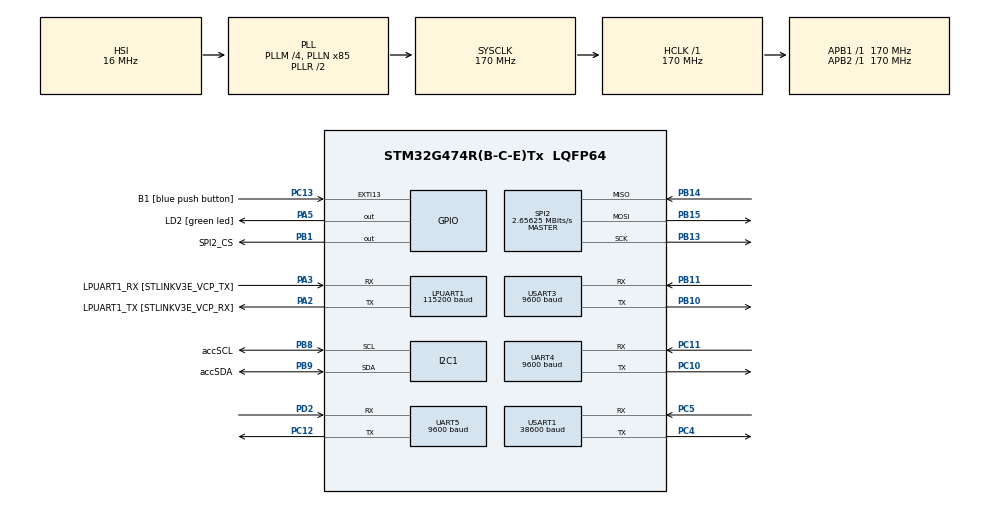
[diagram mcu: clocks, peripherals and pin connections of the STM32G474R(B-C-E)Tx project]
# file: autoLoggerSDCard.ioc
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FATFS._USE_LABEL=1
FATFS._USE_LFN=3
I2C1.Timing=0x40B285C2
LPUART1.BaudRate=115200
Mcu.Family=STM32G4
Mcu.Name=STM32G474R(B-C-E)Tx
Mcu.Package=LQFP64
NVIC.EXTI15_10_IRQn=true\:0\:0\:false\:false\:true\:true\:true\:true
NVIC.I2C1_EV_IRQn=true\:0\:0\:false\:false\:true\:true\:true\:true
NVIC.LPUART1_IRQn=true\:0\:0\:false\:false\:true\:true\:true\:true
NVIC.PriorityGroup=NVIC_PRIORITYGROUP_4
NVIC.TIM6_DAC_IRQn=true\:0\:0\:false\:false\:true\:true\:true\:true
NVIC.UART4_IRQn=true\:0\:0\:false\:false\:true\:true\:true\:true
NVIC.UART5_IRQn=true\:0\:0\:false\:false\:true\:true\:true\:true
NVIC.USART1_IRQn=true\:0\:0\:false\:false\:true\:true\:true\:true
NVIC.USART3_IRQn=true\:0\:0\:false\:false\:true\:true\:true\:true
PA13.GPIO_Label=T_SWDIO
PA13.Mode=Serial_Wire
PA13.Signal=SYS_JTMS-SWDIO
PA14.GPIO_Label=T_SWCLK
PA14.Mode=Serial_Wire
PA14.Signal=SYS_JTCK-SWCLK
PA2.GPIO_Label=LPUART1_TX [STLINKV3E_VCP_RX]
PA2.Mode=Asynchronous
PA2.Signal=LPUART1_TX
PA3.GPIO_Label=LPUART1_RX [STLINKV3E_VCP_TX]
PA3.Mode=Asynchronous
PA3.Signal=LPUART1_RX
PA5.GPIO_Label=LD2 [green led]
PA5.Signal=GPIO_Output
PB1.GPIO_Label=SPI2_CS
PB1.GPIO_ModeDefaultOutputPP=GPIO_MODE_OUTPUT_PP
PB1.GPIO_PuPd=GPIO_PULLUP
PB1.GPIO_Speed=GPIO_SPEED_FREQ_HIGH
PB1.PinState=GPIO_PIN_SET
PB1.Signal=GPIO_Output
PB10.Mode=Asynchronous
PB10.Signal=USART3_TX
PB11.Mode=Asynchronous
PB11.Signal=USART3_RX
PB13.Mode=Full_Duplex_Master
PB13.Signal=SPI2_SCK
PB14.Mode=Full_Duplex_Master
PB14.Signal=SPI2_MISO
PB15.Mode=Full_Duplex_Master
PB15.Signal=SPI2_MOSI
PB3.GPIO_Label=T_SWO
PB3.Signal=SYS_JTDO-SWO
PB8-BOOT0.GPIO_Label=accSCL
PB8-BOOT0.GPIO_Pu=GPIO_PULLUP
PB8-BOOT0.Mode=I2C
PB8-BOOT0.Signal=I2C1_SCL
PB9.GPIO_Label=accSDA
PB9.GPIO_Pu=GPIO_PULLUP
PB9.Mode=I2C
PB9.Signal=I2C1_SDA
PC10.Mode=Asynchronous
PC10.Signal=UART4_TX
PC11.Mode=Asynchronous
PC11.Signal=UART4_RX
PC12.Mode=Asynchronous
PC12.Signal=UART5_TX
PC13.GPIO_Label=B1 [blue push button]
PC13.Signal=GPXTI13
PC14-OSC32_IN.GPIO_Label=RCC_OSC32_IN
PC14-OSC32_IN.Signal=RCC_OSC32_IN
PC15-OSC32_OUT.GPIO_Label=RCC_OSC32_OUT
PC15-OSC32_OUT.Signal=RCC_OSC32_OUT
PC4.Mode=Asynchronous
PC4.Signal=USART1_TX
PC5.Mode=Asynchronous
PC5.Signal=USART1_RX
PD2.Mode=Asynchronous
PD2.Signal=UART5_RX
PF0-OSC_IN.GPIO_Label=RCC_OSC_IN
PF0-OSC_IN.Mode=HSE-External-Oscillator
PF0-OSC_IN.Signal=RCC_OSC_IN
PF1-OSC_OUT.GPIO_Label=RCC_OSC_OUT
PF1-OSC_OUT.Mode=HSE-External-Oscillator
PF1-OSC_OUT.Signal=RCC_OSC_OUT
ProjectManager.HeapSize=0x200
ProjectManager.StackSize=0x400
ProjectManager.TargetToolchain=STM32CubeIDE
RCC.ADC12Freq_Value=170000000
RCC.ADC345Freq_Value=170000000
RCC.AHBFreq_Value=170000000
RCC.APB1Freq_Value=170000000
RCC.APB1TimFreq_Value=170000000
RCC.APB2Freq_Value=170000000
RCC.APB2TimFreq_Value=170000000
RCC.CortexFreq_Value=170000000
RCC.EXTERNAL_CLOCK_VALUE=12288000
RCC.HCLKFreq_Value=170000000
RCC.HSE_VALUE=24000000
RCC.HSI48_VALUE=48000000
RCC.HSI_VALUE=16000000
RCC.LSE_VALUE=32768
RCC.PLLM=RCC_PLLM_DIV4
RCC.PLLN=85
RCC.RTCClockSelection=RCC_RTCCLKSOURCE_LSE
RCC.SYSCLKFreq_VALUE=170000000
RCC.SYSCLKSource=RCC_SYSCLKSOURCE_PLLCLK
RCC.USBFreq_Value=170000000
RCC.VCOOutputFreq_Value=340000000
SPI2.BaudRatePrescaler=SPI_BAUDRATEPRESCALER_64
SPI2.CalculateBaudRate=2.65625 MBits/s
SPI2.DataSize=SPI_DATASIZE_8BIT
SPI2.Direction=SPI_DIRECTION_2LINES
SPI2.Mode=SPI_MODE_MASTER
SPI2.VirtualType=VM_MASTER
TIM6.PeriodNoDither=1000-1
TIM6.Prescaler=170-1
UART4.BaudRate=9600
UART5.BaudRate=9600
USART1.BaudRate=38600
USART1.VirtualMode-Asynchronous=VM_ASYNC
USART3.BaudRate=9600
USART3.VirtualMode-Asynchronous=VM_ASYNC
VP_FATFS_VS_Generic.Mode=User_defined
VP_SYS_VS_DBSignals.Mode=DisableDeadBatterySignals
VP_TIM6_VS_ClockSourceINT.Mode=Enable_Timer
board=NUCLEO-G474RE

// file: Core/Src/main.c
/* USER CODE BEGIN Header */
/**
  ******************************************************************************
  * @file           : main.c
  * @brief          : Main program body
  ******************************************************************************
  * @attention
  *
  * Copyright (c) 2025 STMicroelectronics.
  * All rights reserved.
  *
  * This software is licensed under terms that can be found in the LICENSE file
  * in the root directory of this software component.
  * If no LICENSE file comes with this software, it is provided AS-IS.
  *
  ******************************************************************************
  */
/* USER CODE END Header */
#include "main.h"
#include "app_fatfs.h"
#include "i2c.h"
#include "usart.h"
#include "spi.h"
#include "tim.h"
#include "gpio.h"

/* USER CODE BEGIN Includes */
#include "sd_functions.h"
#include "sd_benchmark.h"
#include "dataBuffer.h"

#include "string.h"
#include "stdio.h"
#include "MPU6050.h"
#include "math.h"
#include "mpu_madgwick.h"

//gps
#include "gps.h"

//obd2
#include "elm327.h"

//sd
#define FILENAME "2.csv"

/* USER CODE END Includes */

/* USER CODE BEGIN PD */

//UART_HandleTypeDef hlpuart1;

/* USER CODE END PD */

/* USER CODE BEGIN PV */
//idle
char idleMode = 0;
char fileInfoSend = 0;
//miniSD CARD
uint8_t bufr[80];
UINT br;
char sdWriteBuffer[8192];
char sdPhraseBuffer[128];

SDCyclic_t SDLogger;
char sdLineBuffer[128];
char ready2SaveFlag =0;

//Accelerometer
float Ax, Ay, Az;
float Gx, Gy, Gz;
float relAx, relAy, relAz;
float accLinX, accLinY, accLinZ;
unsigned int uiMsCounter = 0;
float mean_pitch, mean_roll, mean_yaw, mean_ax, mean_ay, mean_az = 0;

//bt
uint8_t rxBt;
uint8_t rxHuart5;

//gps
GPS_t GPS;

//obd2
uint8_t uart_rx_byte;
uint8_t uart_rx_buffer[UART_RX_BUFFER_SIZE];
uint8_t rxLPUART;

float velocity = 0;
float motorRPM = 0;
float fuelConsumption = 0;
int throttle = 0 ;
int gear = 1;

SensorData_t data;
DataBuffer_t dataBuffer;

#define MPU6050_ADDR 0xD0   // endereço I2C (AD0 = GND → 0x68)
#define MPU6050_ACCEL_XOUT_H 0x3B

/* USER CODE END PV */

void SystemClock_Config(void);

/* USER CODE BEGIN 0 */

int _write(int fd, unsigned char *buf, int len) {
  if (fd == 1 || fd == 2) {                     // stdout or stderr ?
    HAL_UART_Transmit(&hlpuart1, buf, len, 999);  // Print to the UART
  }
  return len;
}

/* USER CODE END 0 */

int main(void)
{

  /* MCU Configuration--------------------------------------------------------*/

  /* Reset of all peripherals, Initializes the Flash interface and the Systick. */
  HAL_Init();

  /* Configure the system clock */
  SystemClock_Config();

  /* Initialize all configured peripherals */
  MX_GPIO_Init();
  MX_LPUART1_UART_Init();
  MX_SPI2_Init();
  MX_I2C1_Init();
  MX_TIM6_Init();
  MX_USART3_UART_Init();
  MX_USART1_UART_Init();
  MX_UART4_Init();
  MX_UART5_Init();
  /* USER CODE BEGIN 2 */
  GPS_Init();
  //logger
  SDCyclicInit(&SDLogger);

  //test MiniSD card
    //sd_mount();
//  sd_append_file("File10.txt", "NEW DATA FROM AUTOLOGGER\n\r");
//  sd_read_file("File10.txt", bufr, 80, &br);
//  printf("DATA from File:::: %s\n\n",bufr);
   //sd_unmount();
  //sd_benchmark();

  // Accelerometer initialization
  HAL_StatusTypeDef ret = HAL_I2C_IsDeviceReady(&hi2c1, 0b1101000 <<1 + 0 , 1, 100);

  MPU6050_init();

  if (ret == HAL_OK){
	  printf("The Device is Ready\n\r");
  } else {
	  printf("Device not ready \n");
  }
  // Calibração do giroscópio com sensor parado
  printf("Calibrating gyro... keep IMU still\n\r");
  //CalibrateGyro(200); // 200 amostras
  printf("Gyro bias: %.3f %.3f %.3f (deg/s)\n\r", gyroBiasX, gyroBiasY, gyroBiasZ);
  HAL_UART_Receive_IT(&huart1, &uart_rx_byte, 1);
  HAL_UART_Receive_IT(&huart4, &rxBt, 1);
  ELM327InitDebug(&huart1);

  //uint32_t last = HAL_GetTick();
  /* USER CODE END 2 */

  /* Infinite loop */
  /* USER CODE BEGIN WHILE */
  HAL_NVIC_EnableIRQ(TIM6_DAC_IRQn);
  HAL_TIM_Base_Start_IT(&htim6);
  HAL_UART_Receive_IT(&hlpuart1, &rxLPUART, 1);
  HAL_NVIC_EnableIRQ(USART3_IRQn);
  HAL_NVIC_EnableIRQ(USART1_IRQn);
  HAL_NVIC_EnableIRQ(LPUART1_IRQn);
  HAL_UART_Receive_IT(&huart5, &rxHuart5, 1);

  static SensorData_t dataSnapshot;
  static char line[256];
  while (1)
  {
	  if(!idleMode){
		  //copia o data para eviat problemas de inserção e remoção comcomitante
		  __disable_irq();
		  if(dataBufferPop(&dataBuffer, &dataSnapshot)){
			  __enable_irq();
			  snprintf(line, sizeof(line),
					  "%.2f,%.2f,%.2f,%.2f,%.2f,%.2f,%.2f,%.6f,%.6f,%.1f,%.0f,%.2f,%d,%d,%.2f,%.2f\r\n",
					  dataSnapshot.timestamp,
					  dataSnapshot.pitch_deg, dataSnapshot.roll_deg, dataSnapshot.yaw_deg,
					  dataSnapshot.linAx_ms2, dataSnapshot.linAy_ms2, dataSnapshot.linAz_ms2,
					  dataSnapshot.latitude, dataSnapshot.longitude,
					  dataSnapshot.velocity, dataSnapshot.motorRPM,
					  dataSnapshot.fuelConsumption, dataSnapshot.throttle, dataSnapshot.gear,
					  dataSnapshot.CCR, dataSnapshot.dangerousDriving);
			  printf("%.2f,%.2f,%.2f,%.2f,%.2f,%.2f,%.2f,%.6f,%.6f,%.1f,%.0f,%.2f,%d,%d,%.2f,%.2f\r\n",
					  dataSnapshot.timestamp,
					  dataSnapshot.pitch_deg, dataSnapshot.roll_deg, dataSnapshot.yaw_deg,
					  dataSnapshot.linAx_ms2, dataSnapshot.linAy_ms2, dataSnapshot.linAz_ms2,
					  dataSnapshot.latitude, dataSnapshot.longitude,
					  dataSnapshot.velocity, dataSnapshot.motorRPM,
					  dataSnapshot.fuelConsumption, dataSnapshot.throttle, dataSnapshot.gear,
					  dataSnapshot.CCR, dataSnapshot.dangerousDriving);

			  SDCyclicAddLine(&SDLogger, line);
			  if(SDLogger.lineCount >= SAFE_MAX_DATA_BUFFER_SIZE )
							ready2SaveFlag = 1;

		  }
		  else
			  __enable_irq();

			if(ready2SaveFlag){
//				__disable_irq();
				SDCyclicFlush(&SDLogger, FILENAME);
//				__enable_irq();
				ready2SaveFlag = 0;
			}
			HAL_Delay(50);

    /* USER CODE END WHILE */

    /* USER CODE BEGIN 3 */
	  }
  else
  {
	  //printf("Idle Mode On \n\r");
	  HAL_Delay(1000);
	  if(!fileInfoSend){
		  sd_send_file_over_uart(FILENAME, &huart4);
	  	  sd_send_file_over_uart(FILENAME, &hlpuart1);
	  }
	  fileInfoSend = 1;
  }
  }
  /* USER CODE END 3 */
}

void SystemClock_Config(void)
{
  RCC_OscInitTypeDef RCC_OscInitStruct = {0};
  RCC_ClkInitTypeDef RCC_ClkInitStruct = {0};

  /** Configure the main internal regulator output voltage
  */
  HAL_PWREx_ControlVoltageScaling(PWR_REGULATOR_VOLTAGE_SCALE1_BOOST);

  /** Initializes the RCC Oscillators according to the specified parameters
  * in the RCC_OscInitTypeDef structure.
  */
  RCC_OscInitStruct.OscillatorType = RCC_OSCILLATORTYPE_HSI;
  RCC_OscInitStruct.HSIState = RCC_HSI_ON;
  RCC_OscInitStruct.HSICalibrationValue = RCC_HSICALIBRATION_DEFAULT;
  RCC_OscInitStruct.PLL.PLLState = RCC_PLL_ON;
  RCC_OscInitStruct.PLL.PLLSource = RCC_PLLSOURCE_HSI;
  RCC_OscInitStruct.PLL.PLLM = RCC_PLLM_DIV4;
  RCC_OscInitStruct.PLL.PLLN = 85;
  RCC_OscInitStruct.PLL.PLLP = RCC_PLLP_DIV2;
  RCC_OscInitStruct.PLL.PLLQ = RCC_PLLQ_DIV2;
  RCC_OscInitStruct.PLL.PLLR = RCC_PLLR_DIV2;
  if (HAL_RCC_OscConfig(&RCC_OscInitStruct) != HAL_OK)
  {
    Error_Handler();
  }

  /** Initializes the CPU, AHB and APB buses clocks
  */
  RCC_ClkInitStruct.ClockType = RCC_CLOCKTYPE_HCLK|RCC_CLOCKTYPE_SYSCLK
                              |RCC_CLOCKTYPE_PCLK1|RCC_CLOCKTYPE_PCLK2;
  RCC_ClkInitStruct.SYSCLKSource = RCC_SYSCLKSOURCE_PLLCLK;
  RCC_ClkInitStruct.AHBCLKDivider = RCC_SYSCLK_DIV1;
  RCC_ClkInitStruct.APB1CLKDivider = RCC_HCLK_DIV1;
  RCC_ClkInitStruct.APB2CLKDivider = RCC_HCLK_DIV1;

  if (HAL_RCC_ClockConfig(&RCC_ClkInitStruct, FLASH_LATENCY_4) != HAL_OK)
  {
    Error_Handler();
  }
}

/* USER CODE BEGIN 4 */
void HAL_TIM_PeriodElapsedCallback(TIM_HandleTypeDef* htim){
	if(htim->Instance==TIM6)
	{
		if(!idleMode){
			uiMsCounter+=1;

			if(!(uiMsCounter%10)){
	//			IMU_Update(0.01);
	//			MPU6050AddSample(pitch_deg, roll_deg, yaw_deg, linAx_ms2, linAy_ms2, linAz_ms2);
			}

			if(!(uiMsCounter%1000)){
				IMU_Update(0.1);
				data.timestamp = GPS.utc_time;
				data.pitch_deg = pitch_deg;
				data.roll_deg  = roll_deg;
				data.yaw_deg   = yaw_deg;

				data.linAx_ms2 = linAx_ms2;
				data.linAy_ms2 = linAy_ms2;
				data.linAz_ms2 = linAz_ms2;

				// --- Atualiza GPS ---
				data.latitude  = GPS.dec_latitude;
				data.longitude = GPS.dec_longitude;

				// --- Atualiza OBD2 ---
				data.velocity        = velocity;
				data.motorRPM        = motorRPM;
				data.fuelConsumption = fuelConsumption;
				data.throttle        = throttle;
				data.gear            = gear;

				if(motorRPM == 0 && velocity != 0){
					data.CCR = fuelConsumption/velocity;
				}
				else if(motorRPM != 0 && velocity == 0) {
					data.CCR = fuelConsumption/motorRPM;
				}
				else if(motorRPM == 0 && velocity == 0){
					data.CCR		= fuelConsumption;
				}
				else
					data.CCR			 = fuelConsumption/(motorRPM * velocity);

				data.dangerousDriving= 999;

				dataBufferPush(&dataBuffer, &data);

			}
//			if(!(uiMsCounter%1000)){
//				ELM327SendCommand("010C");
//
//			}
		}
		else
		{

		}
	}
}

void HAL_UART_RxCpltCallback(UART_HandleTypeDef *huart)
{
	if(!idleMode){
	  if (huart == &huart3) {
		GPS_UART_CallBack();
	  }

	  if(huart == &huart1){
		ELM327UARTCallback();
		HAL_UART_Receive_IT(&huart1, &uart_rx_byte, 1);
		HAL_UART_Transmit_IT(&hlpuart1, &uart_rx_byte, 1);
	  }
	}

  if (huart == &hlpuart1)
  {
	  HAL_UART_Receive_IT(&hlpuart1, &rxLPUART, 1);
  }
  if (huart == &huart4)
  {
	  //printf("\n\rget bt\n\r");
	  // Reinicia a recepção
	  HAL_UART_Transmit_IT(&hlpuart1, &rxBt, 1);
	  //HAL_UART_Transmit_IT(&huart4, &rxBt, 1);
	  HAL_UART_Receive_IT(&huart4, &rxBt, 1);
  }
  if (huart == &huart5)
    {
	  HAL_UART_Transmit_IT(&hlpuart1, &rxBt, 1);
	  HAL_UART_Receive_IT(&huart5, &rxHuart5, 1);
    }
}

void HAL_GPIO_EXTI_Callback(uint16_t GPIO_Pin){
	if (GPIO_Pin == B1_Pin){
		idleMode = 1;
	}

}
/* USER CODE END 4 */

void Error_Handler(void)
{
  __disable_irq();
  while (1)
  {
  }
}
